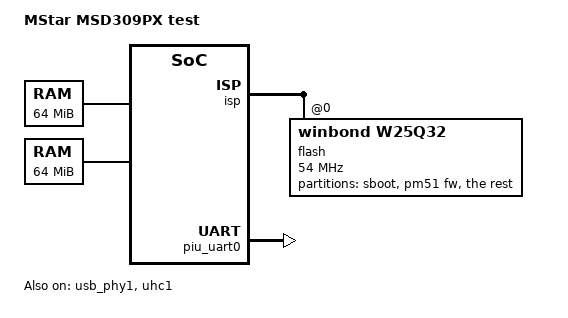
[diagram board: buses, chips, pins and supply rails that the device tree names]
// SPDX-License-Identifier: GPL-2.0
/dts-v1/;

#include "titania4-msd309px.dtsi"

/ {
	compatible = "mstar,msd309px", "mstar,kronus";
	model = "MStar MSD309PX test";

	aliases {
		serial0 = &piu_uart0;
	};

	chosen {
		bootargs = "console=ttyS0,115200 root=/dev/sda2 rootwait clk_ignore_unused";
	};

	memory@0 {
		device_type = "memory";
		reg = <0x0 0x4000000>;
	};

	memory@40000000 {
		device_type = "memory";
		reg = <0x40000000 0x4000000>;
	};

	reserved-memory {
		#address-cells = <1>;
		#size-cells = <1>;
		ranges;

		/* ~2 megs for the framebuffer (fits up to 1366x768 @ 16bpp) */
		fb-memory@3a00000 {
			reg = <0x3a00000 0x210000>;
		};
	};

	framebuffer@3a00000 {
		compatible = "simple-framebuffer";
		reg = <0x3a00000 0x210000>;
		width = <1280>;
		height = <800>;
		stride = <(1280*2)>;
		format = "r5g6b5";
	};
};


&isp {
	#address-cells = <1>;
	#size-cells = <0>;
	status = "okay";

	flash@0 {
		compatible = "winbond,w25q32", "jedec,spi-nor";
		reg = <0>;
		spi-max-frequency = <54000000>; /* something like that */
		m25p,fast-read;

		partitions {
			#address-cells = <1>;
			#size-cells = <1>;
			compatible = "fixed-partitions";

			sboot@0 {
				label = "sboot";
				reg = <0x0 0x10000>;
			};

			pm51-fw@10000 {
				label = "pm51 fw";
				reg = <0x10000 0x10000>;
			};

			rest@20000 {
				label = "the rest";
				reg = <0x20000 0x3e0000>;
			};
		};
	};
};

&usb_phy1 {
	status = "okay";
};

&uhc1 {
	status = "okay";
};

&piu_uart0 {
	status = "okay";
};
